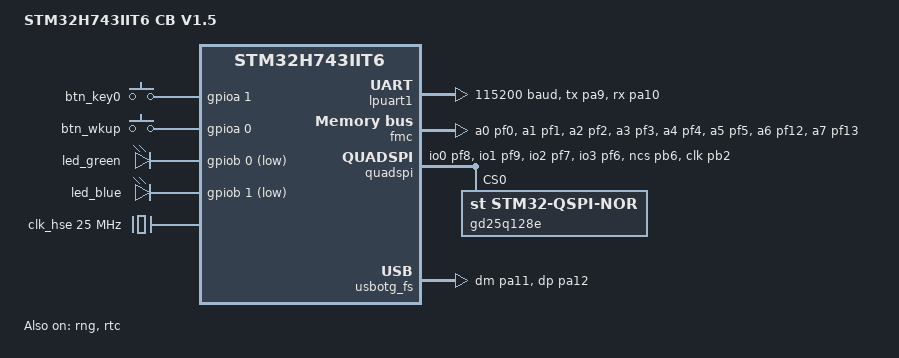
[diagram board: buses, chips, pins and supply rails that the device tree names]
/*
 * Copyright (c) 2026 Caspar Friedrich <c.s.w.friedrich@gmail.com>
 *
 * SPDX-License-Identifier: Apache-2.0
 */

/dts-v1/;

#include <st/h7/stm32h743Xi.dtsi>
#include <st/h7/stm32h743iitx-pinctrl.dtsi>
#include <zephyr/dt-bindings/input/input-event-codes.h>

/ {
	model = "STM32H743IIT6 CB V1.5";
	compatible = "others,stm32h743iit6_cb_v1_5";

	chosen {
		zephyr,code-partition = &slot0_partition;
		zephyr,console = &lpuart1;
		zephyr,dtcm = &dtcm;
		zephyr,flash = &flash0;
		zephyr,itcm = &itcm;
		zephyr,shell-uart = &lpuart1;
		zephyr,sram = &sram0;
		zephyr,uart-mcumgr = &lpuart1;
	};

	sdram1: sdram@c0000000 {
		compatible = "zephyr,memory-region", "mmio-sram";
		device_type = "memory";
		reg = <0xc0000000 DT_SIZE_M(32)>;
		zephyr,memory-region = "SDRAM1";
		zephyr,memory-attr = <DT_MEM_ARM(ATTR_MPU_RAM)>;
	};

	gpio_keys {
		compatible = "gpio-keys";

		btn_key0: btn_key0 {
			gpios = <&gpioa 1 (GPIO_ACTIVE_HIGH | GPIO_PULL_DOWN)>;
			zephyr,code = <INPUT_KEY_0>;
		};

		btn_wkup: btn_wkup {
			gpios = <&gpioa 0 (GPIO_ACTIVE_HIGH | GPIO_PULL_DOWN)>;
			zephyr,code = <INPUT_KEY_W>;
		};
	};

	gpio_leds {
		compatible = "gpio-leds";

		led_green: led_green {
			gpios = <&gpiob 0 GPIO_ACTIVE_LOW>;
		};

		led_blue: led_blue {
			gpios = <&gpiob 1 GPIO_ACTIVE_LOW>;
		};
	};

	aliases {
		led0 = &led_green;
		led1 = &led_blue;
		sw0 = &btn_key0;
		sw1 = &btn_wkup;
		sram-ext = &sdram1;
	};
};

&clk_hse {
	status = "okay";
	clock-frequency = <DT_FREQ_M(25)>;
};

&clk_lse {
	status = "okay";
};

&pll {
	status = "okay";
	clocks = <&clk_hse>;
	div-m = <5>;
	mul-n = <192>;
	div-p = <2>; /* 480 MHz -> SYSCLK */
	div-q = <4>; /* 240 MHz (PLL1_Q) -> RNG, SDMMC1 */
	div-r = <2>; /* 480 MHz (PLL1_R) */
};

&pll3 {
	status = "okay";
	clocks = <&clk_hse>;
	div-m = <5>;
	mul-n = <192>;
	div-p = <2>;  /* 480 MHz (PLL3_P) */
	div-q = <20>; /*  48 MHz (PLL3_Q) -> USB */
	div-r = <2>;  /* 480 MHz (PLL3_R) */
};

&rcc {
	status = "okay";
	clocks = <&pll>;
	clock-frequency = <DT_FREQ_M(480)>;
	d1cpre  = <1>; /* 480 MHz -> CPU, SYSTICK */
	hpre    = <2>; /* 240 MHz (HCLK3) */
	d1ppre  = <2>; /* 120 MHz (PCLK3) */
	d2ppre1 = <2>; /* 120 MHz (PCLK1) */
	d2ppre2 = <2>; /* 120 MHz (PCLK2) */
	d3ppre  = <2>; /* 120 MHz (PCLK4) */
};

&pwr {
	power-supply = "ldo";
};

&rng {
	status = "okay";
	clocks = <&rcc STM32_CLOCK(AHB2, 6U)>,
	         <&rcc STM32_SRC_PLL1_Q RNG_SEL(1)>;
};

&rtc {
	status = "okay";
	clocks = <&rcc STM32_CLOCK(APB4, 16U)>,
	         <&rcc STM32_SRC_LSE RTC_SEL(1)>;
};

&lpuart1 {
	status = "okay";
	pinctrl-0 = <&lpuart1_tx_pa9
	             &lpuart1_rx_pa10>;
	pinctrl-names = "default";
	current-speed = <115200>;
};

&fmc {
	status = "okay";
	pinctrl-0 = <&fmc_a0_pf0
	             &fmc_a1_pf1
	             &fmc_a2_pf2
	             &fmc_a3_pf3
	             &fmc_a4_pf4
	             &fmc_a5_pf5
	             &fmc_a6_pf12
	             &fmc_a7_pf13
	             &fmc_a8_pf14
	             &fmc_a9_pf15
	             &fmc_a10_pg0
	             &fmc_a11_pg1
	             &fmc_a12_pg2
	             &fmc_a14_pg4 /* BS0 */
	             &fmc_a15_pg5 /* BS1 */
	             &fmc_d0_pd14
	             &fmc_d1_pd15
	             &fmc_d2_pd0
	             &fmc_d3_pd1
	             &fmc_d4_pe7
	             &fmc_d5_pe8
	             &fmc_d6_pe9
	             &fmc_d7_pe10
	             &fmc_d8_pe11
	             &fmc_d9_pe12
	             &fmc_d10_pe13
	             &fmc_d11_pe14
	             &fmc_d12_pe15
	             &fmc_d13_pd8
	             &fmc_d14_pd9
	             &fmc_d15_pd10
	             &fmc_nbl0_pe0
	             &fmc_nbl1_pe1
	             &fmc_sdcke0_ph2
	             &fmc_sdclk_pg8
	             &fmc_sdncas_pg15
	             &fmc_sdne0_ph3
	             &fmc_sdnras_pf11
	             &fmc_sdnwe_pc0>;
	pinctrl-names = "default";
};

&sdram {
	status = "okay";
	mode-register = <0>;
	num-auto-refresh = <1>;
	power-up-delay = <200>;
	refresh-rate = <1920>;

	bank@0 {
		reg = <0>;
		st,sdram-control = <STM32_FMC_SDRAM_NC_9
		                    STM32_FMC_SDRAM_NR_13 /* FIXME: Should be 12 */
		                    STM32_FMC_SDRAM_MWID_16
		                    STM32_FMC_SDRAM_NB_4
		                    STM32_FMC_SDRAM_CAS_2
		                    STM32_FMC_SDRAM_SDCLK_PERIOD_2
		                    STM32_FMC_SDRAM_RBURST_ENABLE
		                    STM32_FMC_SDRAM_RPIPE_1>;
		// FIXME: Seems to work but unclear if correct
		st,sdram-timing = <2 7 4 7 3 2 2>;
	};
};

&quadspi {
	status = "okay";
	pinctrl-0 = <&quadspi_bk1_io0_pf8
	             &quadspi_bk1_io1_pf9
	             &quadspi_bk1_io2_pf7
	             &quadspi_bk1_io3_pf6
	             &quadspi_bk1_ncs_pb6
	             &quadspi_clk_pb2>;
	pinctrl-names = "default";

	gd25q128e@0 {
		compatible = "st,stm32-qspi-nor";
		reg = <0>;
		size = <DT_SIZE_M(128)>;
		qspi-max-frequency = <DT_FREQ_M(80)>;
	};
};

&sdmmc1 {
	status = "disabled";
	pinctrl-0 = <&sdmmc1_ck_pc12
	             &sdmmc1_cmd_pd2
	             &sdmmc1_d0_pc8
	             &sdmmc1_d1_pc9
	             &sdmmc1_d2_pc10
	             &sdmmc1_d3_pc11>;
	pinctrl-names = "default";
};

zephyr_udc0: &usbotg_fs {
	status = "okay";
	pinctrl-0 = <&usb_otg_fs_dm_pa11
	             &usb_otg_fs_dp_pa12>;
	pinctrl-names = "default";
	clocks = <&rcc STM32_CLOCK(AHB1, 27U)>,
	         <&rcc STM32_SRC_PLL3_Q USB_SEL(2)>;
};

&flash0 {
	partitions {
		compatible = "fixed-partitions";
		#address-cells = <1>;
		#size-cells = <1>;

		boot_partition: partition@0 {
			label = "mcuboot";
			reg = <0x00000000 DT_SIZE_K(64)>;
			read-only;
		};

		slot0_partition: partition@10000 {
			label = "image-0";
			reg = <0x00010000 DT_SIZE_K(960)>;
		};

		slot1_partition: partition@100000 {
			label = "image-1";
			reg = <0x00100000 DT_SIZE_K(960)>;
		};

		storage_partition: partition@1f0000 {
			label = "storage";
			reg = <0x001f0000 DT_SIZE_K(64)>;
		};
	};
};


&ext_memory {
	reg = <0x90000000 DT_SIZE_M(128)>;
};
